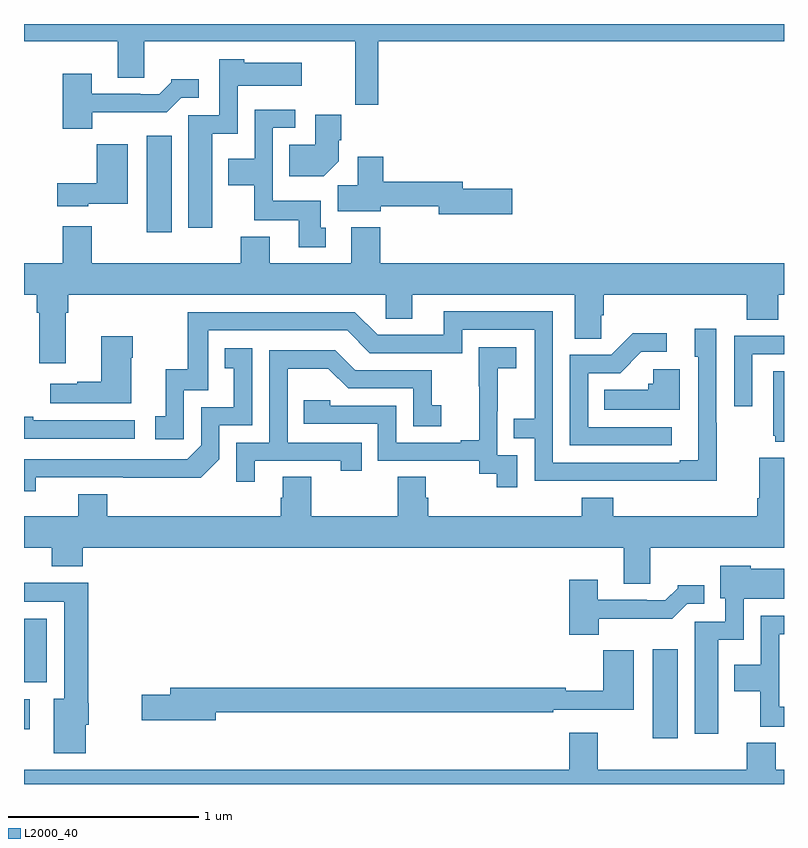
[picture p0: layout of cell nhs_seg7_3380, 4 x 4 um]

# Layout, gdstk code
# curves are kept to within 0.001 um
import gdstk
lib = gdstk.Library(unit=1e-6, precision=1e-09)
def R(c, l, rs):  # rectangles x0, y0, x1, y1
    for r in rs: c.add(gdstk.rectangle(r[:2], r[2:], *l))
def P(c, l, *ps):  # polygons
    for p in ps: c.add(gdstk.Polygon(p, *l))
L2000_40 = (2000, 40)

nhs_seg7_3380 = lib.new_cell('nhs_seg7_3380')
R(nhs_seg7_3380, L2000_40, [(328.31,1038.24,328.441,1038.709), (325,1038.288,325.03,1038.447), (325,1038.536,325.12,1038.871), (325.646,1040.904,325.777,1041.412)])
P(nhs_seg7_3380, L2000_40, [(326.864,1041.908),(329,1041.908),(329,1042),(325,1042),(325,1041.908),(325.493,1041.908),(325.493,1041.718),(325.633,1041.718),(325.633,1041.908),(326.743,1041.908),(326.743,1041.576),(326.864,1041.576)],
  [(325.99,1041.422),(326.124,1041.422),(326.124,1041.674),(326.461,1041.674),(326.461,1041.796),(326.16,1041.796),(326.16,1041.814),(326.028,1041.814),(326.028,1041.519),(325.865,1041.519),(325.865,1040.928),(325.99,1040.928)],
  [(325.36,1041.536),(325.751,1041.536),(325.827,1041.612),(325.921,1041.612),(325.921,1041.709),(325.776,1041.709),(325.776,1041.694),(325.712,1041.63),(325.613,1041.63),(325.613,1041.633),(325.357,1041.633),(325.357,1041.739),(325.205,1041.739),(325.205,1041.449),(325.36,1041.449)],
  [(326.587,1040.928),(326.563,1040.928),(326.563,1041.07),(326.31,1041.07),(326.31,1041.453),(326.428,1041.453),(326.428,1041.549),(326.214,1041.549),(326.214,1041.292),(326.075,1041.292),(326.075,1041.152),(326.212,1041.152),(326.212,1040.966),(326.447,1040.966),(326.447,1040.826),(326.587,1040.826)],
  [(326.656,1041.278),(326.656,1041.388),(326.669,1041.388),(326.669,1041.523),(326.534,1041.523),(326.534,1041.364),(326.395,1041.364),(326.395,1041.2),(326.578,1041.2)],
  [(325.338,1041.053),(325.546,1041.053),(325.546,1041.367),(325.384,1041.367),(325.384,1041.163),(325.176,1041.163),(325.176,1041.041),(325.338,1041.041)],
  [(327.571,1041.134),(327.31,1041.134),(327.31,1041.17),(326.891,1041.17),(326.891,1041.301),(326.756,1041.301),(326.756,1041.152),(326.651,1041.152),(326.651,1041.014),(326.878,1041.014),(326.878,1041.042),(327.182,1041.042),(327.182,1040.999),(327.571,1040.999)],
  [(325.219,1040.48),(325.232,1040.48),(325.232,1040.576),(326.904,1040.576),(326.904,1040.449),(327.043,1040.449),(327.043,1040.576),(327.899,1040.576),(327.899,1040.344),(328.038,1040.344),(328.038,1040.467),(328.052,1040.467),(328.052,1040.576),(328.805,1040.576),(328.805,1040.443),(328.97,1040.443),(328.97,1040.576),(329,1040.576),(329,1040.74),(326.876,1040.74),(326.876,1040.929),(326.723,1040.929),(326.723,1040.74),(326.293,1040.74),(326.293,1040.881),(326.141,1040.881),(326.141,1040.74),(325.357,1040.74),(325.357,1040.935),(325.205,1040.935),(325.205,1040.74),(325,1040.74),(325,1040.576),(325.067,1040.576),(325.067,1040.48),(325.079,1040.48),(325.079,1040.214),(325.219,1040.214)],
  [(328.647,1039.901),(328.644,1039.901),(328.644,1040.395),(328.529,1040.395),(328.529,1040.25),(328.548,1040.25),(328.548,1039.705),(328.451,1039.705),(328.451,1039.692),(327.783,1039.692),(327.783,1040.487),(327.209,1040.487),(327.209,1040.364),(326.862,1040.364),(326.742,1040.484),(325.863,1040.484),(325.863,1040.182),(325.745,1040.182),(325.745,1039.935),(325.692,1039.935),(325.692,1039.815),(325.842,1039.815),(325.842,1040.073),(325.971,1040.073),(325.971,1040.388),(326.7,1040.388),(326.82,1040.268),(327.306,1040.268),(327.306,1040.391),(327.687,1040.391),(327.687,1039.922),(327.577,1039.922),(327.577,1039.821),(327.687,1039.821),(327.687,1039.596),(328.647,1039.595)],
  [(328.408,1039.878),(327.969,1039.878),(327.969,1040.163),(328.138,1040.163),(328.249,1040.274),(328.384,1040.274),(328.384,1040.372),(328.205,1040.372),(328.092,1040.259),(327.873,1040.259),(327.873,1039.782),(328.408,1039.782)],
  [(328.833,1040.262),(329,1040.262),(329,1040.358),(328.737,1040.358),(328.737,1039.989),(328.833,1039.989)],
  [(325.564,1040.243),(325.572,1040.243),(325.572,1040.356),(325.406,1040.356),(325.406,1040.117),(325.28,1040.117),(325.28,1040.107),(325.137,1040.107),(325.137,1040.003),(325.564,1040.003)],
  [(327.597,1039.731),(327.492,1039.731),(327.492,1039.961),(327.494,1039.961),(327.494,1040.189),(327.592,1040.189),(327.592,1040.299),(327.394,1040.299),(327.394,1040.093),(327.395,1040.093),(327.395,1039.81),(327.299,1039.81),(327.299,1039.797),(326.958,1039.797),(326.958,1039.992),(326.613,1039.992),(326.613,1040.019),(326.473,1040.019),(326.473,1039.896),(326.862,1039.896),(326.862,1039.701),(327.396,1039.701),(327.396,1039.632),(327.489,1039.632),(327.489,1039.563),(327.597,1039.563)],
  [(325.062,1039.614),(325.93,1039.613),(326.028,1039.71),(326.028,1039.887),(326.202,1039.887),(326.202,1040.293),(326.056,1040.293),(326.056,1040.187),(326.105,1040.187),(326.105,1039.983),(325.932,1039.983),(325.932,1039.782),(325.86,1039.71),(325,1039.71),(325,1039.541),(325.062,1039.541)],
  [(326.215,1039.701),(326.666,1039.701),(326.666,1039.65),(326.777,1039.65),(326.777,1039.797),(326.388,1039.797),(326.388,1040.186),(326.602,1040.186),(326.706,1040.082),(327.048,1040.082),(327.048,1039.884),(327.196,1039.884),(327.196,1039.993),(327.147,1039.993),(327.147,1040.178),(326.743,1040.178),(326.638,1040.283),(326.292,1040.283),(326.292,1039.797),(326.118,1039.797),(326.118,1039.59),(326.215,1039.59)],
  [(328.45,1040.182),(328.311,1040.182),(328.311,1040.106),(328.285,1040.106),(328.285,1040.074),(328.054,1040.074),(328.054,1039.97),(328.45,1039.97)],
  [(329,1040.173),(328.943,1040.173),(328.943,1039.833),(328.955,1039.833),(328.955,1039.802),(329,1039.802)],
  [(325.582,1039.914),(325.049,1039.914),(325.049,1039.934),(325,1039.934),(325,1039.818),(325.582,1039.818)],
  [(328.297,1039.244),(329,1039.244),(329,1039.717),(328.871,1039.717),(328.871,1039.504),(328.859,1039.504),(328.859,1039.408),(328.1,1039.408),(328.1,1039.507),(327.935,1039.507),(327.935,1039.408),(327.128,1039.408),(327.128,1039.506),(327.115,1039.506),(327.115,1039.616),(326.968,1039.616),(326.968,1039.408),(326.511,1039.408),(326.511,1039.616),(326.363,1039.616),(326.363,1039.506),(326.351,1039.506),(326.351,1039.408),(325.439,1039.408),(325.439,1039.525),(325.286,1039.525),(325.286,1039.408),(325,1039.408),(325,1039.244),(325.145,1039.244),(325.145,1039.145),(325.31,1039.145),(325.31,1039.244),(328.157,1039.244),(328.157,1039.054),(328.297,1039.054)],
  [(328.654,1038.758),(328.788,1038.758),(328.788,1038.974),(329,1038.974),(329,1039.132),(328.824,1039.132),(328.824,1039.15),(328.664,1039.15),(328.664,1038.978),(328.692,1038.978),(328.692,1038.855),(328.529,1038.855),(328.529,1038.264),(328.654,1038.264)],
  [(328.024,1038.87),(328.413,1038.87),(328.491,1038.948),(328.579,1038.948),(328.579,1039.045),(328.44,1039.045),(328.44,1039.03),(328.376,1038.966),(328.277,1038.966),(328.277,1038.969),(328.021,1038.969),(328.021,1039.075),(327.869,1039.075),(327.869,1038.785),(328.024,1038.785)],
  [(325.324,1038.312),(325.342,1038.312),(325.342,1038.426),(325.337,1038.426),(325.337,1039.058),(325,1039.058),(325,1038.96),(325.211,1038.96),(325.211,1038.448),(325.157,1038.448),(325.157,1038.162),(325.324,1038.162)],
  [(329,1038.406),(328.974,1038.406),(328.974,1038.789),(329,1038.789),(329,1038.885),(328.878,1038.885),(328.878,1038.628),(328.739,1038.628),(328.739,1038.488),(328.876,1038.488),(328.876,1038.302),(329,1038.302)],
  [(326.008,1038.378),(327.785,1038.378),(327.785,1038.39),(328.21,1038.39),(328.21,1038.703),(328.048,1038.703),(328.048,1038.491),(327.85,1038.491),(327.85,1038.506),(325.769,1038.506),(325.769,1038.47),(325.62,1038.47),(325.62,1038.335),(326.008,1038.335)],
  [(329,1038.076),(328.957,1038.076),(328.957,1038.217),(328.805,1038.217),(328.805,1038.076),(328.021,1038.076),(328.021,1038.271),(327.869,1038.271),(327.869,1038.076),(325,1038.076),(325,1038),(329,1038)])

lib.write_gds('nhs_seg7_3380.gds')
